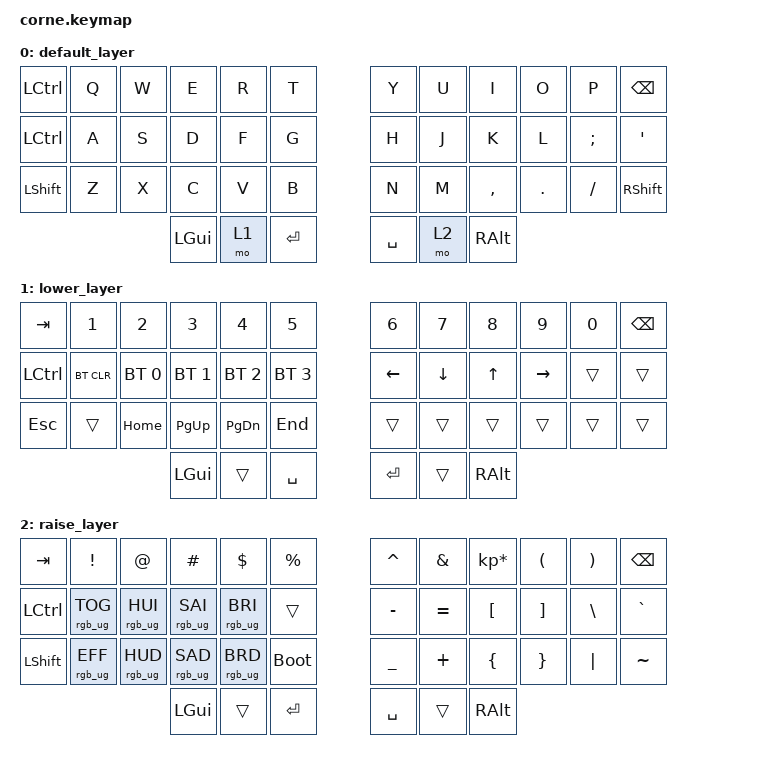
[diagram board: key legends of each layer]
/*
 * Copyright (c) 2020 The ZMK Contributors
 *
 * SPDX-License-Identifier: MIT
 */

#include <behaviors.dtsi>
#include <dt-bindings/zmk/bt.h>
#include <dt-bindings/zmk/keys.h>
#include <dt-bindings/zmk/rgb.h>

&led_strip { chain-length = <27>; };

/ {
    keymap {
        compatible = "zmk,keymap";

        default_layer {
            // -----------------------------------------------------------------------------------------
            // |  TAB |  Q  |  W  |  E  |  R  |  T  |   |  Y  |  U   |  I  |  O  |  P  | BKSP |
            // | CTRL |  A  |  S  |  D  |  F  |  G  |   |  H  |  J   |  K  |  L  |  ;  |  '   |
            // | SHFT |  Z  |  X  |  C  |  V  |  B  |   |  N  |  M   |  ,  |  .  |  /  | SHFT |
            //                    | GUI | LWR | ENT |   | SPC | RSE  | ALT |

            bindings = <
&kp LEFT_CONTROL  &kp Q  &kp W  &kp E     &kp R  &kp T      &kp Y      &kp U  &kp I      &kp O    &kp P     &kp BSPC
&kp LCTRL         &kp A  &kp S  &kp D     &kp F  &kp G      &kp H      &kp J  &kp K      &kp L    &kp SEMI  &kp SQT
&kp LSHFT         &kp Z  &kp X  &kp C     &kp V  &kp B      &kp N      &kp M  &kp COMMA  &kp DOT  &kp FSLH  &kp RSHFT
                                &kp LGUI  &mo 1  &kp RET    &kp SPACE  &mo 2  &kp RALT
            >;
        };

        lower_layer {
            // -----------------------------------------------------------------------------------------
            // |  TAB |  1    |  2  |  3  |  4  |  5  |   |  6  |  7  |  8  |  9  |  0  | BKSP |
            // | LCTRL| BTCLR | BT0 | BT1 | BT2 | BT3 |   | LFT | DWN |  UP | RGT |     |      |
            // | ESC  |       | HOME| PGUP| PGDN| END |   |     |     |     |     |     |      |
            //                      | GUI |     | SPC |   | ENT |     | ALT |

            bindings = <
&kp TAB    &kp N1      &kp N2        &kp N3        &kp N4        &kp N5          &kp N6    &kp N7    &kp N8    &kp N9     &kp N0  &kp BSPC
&kp LCTRL  &bt BT_CLR  &bt BT_SEL 0  &bt BT_SEL 1  &bt BT_SEL 2  &bt BT_SEL 3    &kp LEFT  &kp DOWN  &kp UP    &kp RIGHT  &trans  &trans
&kp ESC    &trans      &kp HOME      &kp PG_UP     &kp PG_DN     &kp END         &trans    &trans    &trans    &trans     &trans  &trans
                                     &kp LGUI      &trans        &kp SPACE       &kp RET   &trans    &kp RALT
            >;
        };

        raise_layer {
            // -----------------------------------------------------------------------------------------
            // |  TAB |   !   |   @   |   #   |   $   |   %   |   |  ^  |  &  |  *  |  (  |  )  | BKSP |
            // | CTRL |RGB_TOG|RGB_HUI|RGB_SAI|RGB_VAI|       |   |  -  |  =  |  [  |  ]  |  \  |  `   |
            // | SHFT |RGB_MOD|RGB_HUD|RGB_SAD|RGB_VAD|QK_BOOT|   |  _  |  +  |  {  |  }  | "|" |  ~   |
            //                            | GUI |     |  SPC  |   | ENT |     | ALT |

            bindings = <
&kp TAB    &kp EXCL         &kp AT           &kp HASH         &kp DLLR         &kp PRCNT      &kp CARET  &kp AMPS   &kp KP_MULTIPLY  &kp LPAR  &kp RPAR  &kp BSPC
&kp LCTRL  &rgb_ug RGB_TOG  &rgb_ug RGB_HUI  &rgb_ug RGB_SAI  &rgb_ug RGB_BRI  &trans         &kp MINUS  &kp EQUAL  &kp LBKT         &kp RBKT  &kp BSLH  &kp GRAVE
&kp LSHFT  &rgb_ug RGB_EFF  &rgb_ug RGB_HUD  &rgb_ug RGB_SAD  &rgb_ug RGB_BRD  &bootloader    &kp UNDER  &kp PLUS   &kp LBRC         &kp RBRC  &kp PIPE  &kp TILDE
                                             &kp LGUI         &trans           &kp RET        &kp SPACE  &trans     &kp RALT
            >;
        };
    };
};
